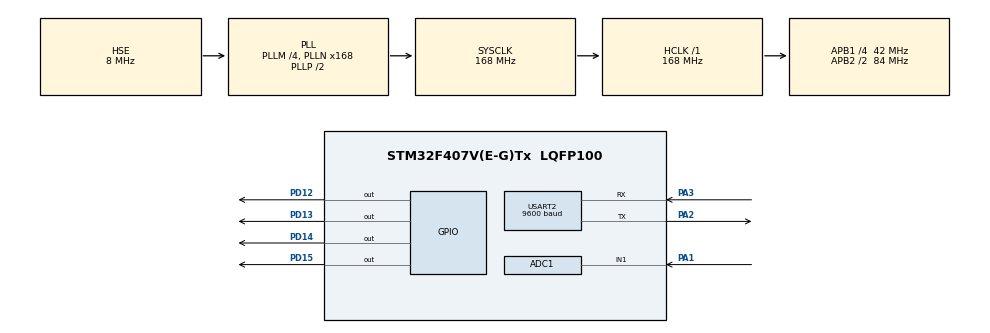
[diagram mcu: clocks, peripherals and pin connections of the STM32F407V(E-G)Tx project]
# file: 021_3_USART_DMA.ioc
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ADC1.Channel-0\#ChannelRegularConversion=ADC_CHANNEL_1
ADC1.ContinuousConvMode=ENABLE
ADC1.NbrOfConversion=1
ADC1.NbrOfConversionFlag=1
ADC1.Rank-0\#ChannelRegularConversion=1
ADC1.SamplingTime-0\#ChannelRegularConversion=ADC_SAMPLETIME_28CYCLES
ADC1.ScanConvMode=DISABLE
ADC1.master=1
Dma.ADC1.2.Direction=DMA_PERIPH_TO_MEMORY
Dma.ADC1.2.FIFOMode=DMA_FIFOMODE_DISABLE
Dma.ADC1.2.Instance=DMA2_Stream0
Dma.ADC1.2.MemDataAlignment=DMA_MDATAALIGN_WORD
Dma.ADC1.2.MemInc=DMA_MINC_ENABLE
Dma.ADC1.2.Mode=DMA_NORMAL
Dma.ADC1.2.PeriphDataAlignment=DMA_PDATAALIGN_WORD
Dma.ADC1.2.PeriphInc=DMA_PINC_DISABLE
Dma.ADC1.2.Priority=DMA_PRIORITY_LOW
Dma.Request0=USART2_RX
Dma.Request1=USART2_TX
Dma.Request2=ADC1
Dma.USART2_RX.0.Direction=DMA_PERIPH_TO_MEMORY
Dma.USART2_RX.0.FIFOMode=DMA_FIFOMODE_DISABLE
Dma.USART2_RX.0.Instance=DMA1_Stream5
Dma.USART2_RX.0.MemDataAlignment=DMA_MDATAALIGN_BYTE
Dma.USART2_RX.0.MemInc=DMA_MINC_ENABLE
Dma.USART2_RX.0.Mode=DMA_NORMAL
Dma.USART2_RX.0.PeriphDataAlignment=DMA_PDATAALIGN_BYTE
Dma.USART2_RX.0.PeriphInc=DMA_PINC_DISABLE
Dma.USART2_RX.0.Priority=DMA_PRIORITY_LOW
Dma.USART2_TX.1.Direction=DMA_MEMORY_TO_PERIPH
Dma.USART2_TX.1.FIFOMode=DMA_FIFOMODE_DISABLE
Dma.USART2_TX.1.Instance=DMA1_Stream6
Dma.USART2_TX.1.MemDataAlignment=DMA_MDATAALIGN_BYTE
Dma.USART2_TX.1.MemInc=DMA_MINC_ENABLE
Dma.USART2_TX.1.Mode=DMA_NORMAL
Dma.USART2_TX.1.PeriphDataAlignment=DMA_PDATAALIGN_BYTE
Dma.USART2_TX.1.PeriphInc=DMA_PINC_DISABLE
Dma.USART2_TX.1.Priority=DMA_PRIORITY_LOW
Mcu.Family=STM32F4
Mcu.Name=STM32F407V(E-G)Tx
Mcu.Package=LQFP100
NVIC.ADC_IRQn=true\:0\:0\:false\:false\:true\:true\:true
NVIC.DMA1_Stream5_IRQn=true\:1\:0\:true\:false\:true\:false\:true
NVIC.DMA1_Stream6_IRQn=true\:2\:0\:true\:false\:true\:false\:true
NVIC.DMA2_Stream0_IRQn=true\:0\:0\:true\:false\:true\:false\:true
NVIC.PriorityGroup=NVIC_PRIORITYGROUP_4
NVIC.USART2_IRQn=true\:3\:0\:true\:false\:true\:true\:true
PA1.Signal=ADCx_IN1
PA2.Mode=Asynchronous
PA2.Signal=USART2_TX
PA3.Mode=Asynchronous
PA3.Signal=USART2_RX
PD12.Signal=GPIO_Output
PD13.Signal=GPIO_Output
PD14.Signal=GPIO_Output
PD15.Signal=GPIO_Output
PH0-OSC_IN.Mode=HSE-External-Oscillator
PH0-OSC_IN.Signal=RCC_OSC_IN
PH1-OSC_OUT.Mode=HSE-External-Oscillator
PH1-OSC_OUT.Signal=RCC_OSC_OUT
ProjectManager.HeapSize=0x200
ProjectManager.StackSize=0x400
ProjectManager.TargetToolchain=STM32CubeIDE
RCC.48MHZClocksFreq_Value=84000000
RCC.AHBFreq_Value=168000000
RCC.APB1CLKDivider=RCC_HCLK_DIV4
RCC.APB1Freq_Value=42000000
RCC.APB1TimFreq_Value=84000000
RCC.APB2CLKDivider=RCC_HCLK_DIV2
RCC.APB2Freq_Value=84000000
RCC.APB2TimFreq_Value=168000000
RCC.CortexFreq_Value=168000000
RCC.HCLKFreq_Value=168000000
RCC.HSE_VALUE=8000000
RCC.HSI_VALUE=16000000
RCC.LSE_VALUE=32768
RCC.PLLM=4
RCC.PLLN=168
RCC.PLLSourceVirtual=RCC_PLLSOURCE_HSE
RCC.SYSCLKFreq_VALUE=168000000
RCC.SYSCLKSource=RCC_SYSCLKSOURCE_PLLCLK
RCC.VCOOutputFreq_Value=336000000
SH.ADCx_IN1.0=ADC1_IN1,IN1
USART2.BaudRate=9600
USART2.VirtualMode=VM_ASYNC
board=custom

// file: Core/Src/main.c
/* USER CODE BEGIN Header */
/**
  ******************************************************************************
  * @file           : main.c
  * @brief          : Main program body
  ******************************************************************************
  * @attention
  *
  * <h2><center>&copy; Copyright (c) 2021 STMicroelectronics.
  * All rights reserved.</center></h2>
  *
  * This software component is licensed by ST under BSD 3-Clause license,
  * the "License"; You may not use this file except in compliance with the
  * License. You may obtain a copy of the License at:
  *                        opensource.org/licenses/BSD-3-Clause
  *
  ******************************************************************************
  */
/* USER CODE END Header */
#include "main.h"

/* USER CODE BEGIN Includes */
#include "string.h"
#include "stdio.h"

/* USER CODE END Includes */

ADC_HandleTypeDef hadc1;
DMA_HandleTypeDef hdma_adc1;

UART_HandleTypeDef huart2;
DMA_HandleTypeDef hdma_usart2_rx;
DMA_HandleTypeDef hdma_usart2_tx;

/* USER CODE BEGIN PV */
static char* UartTx = "MERHABA UART BASLADI\t\n";
char rxBuffer[4];
char buffer[25];
int ADCValue[1];
/* USER CODE END PV */

void SystemClock_Config(void);
static void MX_GPIO_Init(void);
static void MX_DMA_Init(void);
static void MX_USART2_UART_Init(void);
static void MX_ADC1_Init(void);

int main(void)
{

  /* MCU Configuration--------------------------------------------------------*/

  /* Reset of all peripherals, Initializes the Flash interface and the Systick. */
  HAL_Init();

  /* Configure the system clock */
  SystemClock_Config();

  /* Initialize all configured peripherals */
  MX_GPIO_Init();
  MX_DMA_Init();
  MX_USART2_UART_Init();
  MX_ADC1_Init();
  /* USER CODE BEGIN 2 */
    while(HAL_UART_GetState(&huart2)!= HAL_UART_STATE_READY);
    if(HAL_UART_Transmit_IT(&huart2, (uint8_t *)UartTx, 25)!=HAL_OK){
  	  Error_Handler();
    }

    while(HAL_UART_GetState(&huart2)!= HAL_UART_STATE_READY);
    if(HAL_UART_Transmit_DMA(&huart2, (uint8_t *)buffer, strlen(buffer))!=HAL_OK){
  	  Error_Handler();
    }

    if(HAL_ADC_Start_DMA(&hadc1, (uint32_t*)ADCValue, 1)!=HAL_OK){
  	  Error_Handler();
    }
  /* USER CODE END 2 */

  /* Infinite loop */
  while (1)
  {

  }
}

void SystemClock_Config(void)
{
  RCC_OscInitTypeDef RCC_OscInitStruct = {0};
  RCC_ClkInitTypeDef RCC_ClkInitStruct = {0};

  /** Configure the main internal regulator output voltage
  */
  __HAL_RCC_PWR_CLK_ENABLE();
  __HAL_PWR_VOLTAGESCALING_CONFIG(PWR_REGULATOR_VOLTAGE_SCALE1);
  /** Initializes the RCC Oscillators according to the specified parameters
  * in the RCC_OscInitTypeDef structure.
  */
  RCC_OscInitStruct.OscillatorType = RCC_OSCILLATORTYPE_HSE;
  RCC_OscInitStruct.HSEState = RCC_HSE_ON;
  RCC_OscInitStruct.PLL.PLLState = RCC_PLL_ON;
  RCC_OscInitStruct.PLL.PLLSource = RCC_PLLSOURCE_HSE;
  RCC_OscInitStruct.PLL.PLLM = 4;
  RCC_OscInitStruct.PLL.PLLN = 168;
  RCC_OscInitStruct.PLL.PLLP = RCC_PLLP_DIV2;
  RCC_OscInitStruct.PLL.PLLQ = 4;
  if (HAL_RCC_OscConfig(&RCC_OscInitStruct) != HAL_OK)
  {
    Error_Handler();
  }
  /** Initializes the CPU, AHB and APB buses clocks
  */
  RCC_ClkInitStruct.ClockType = RCC_CLOCKTYPE_HCLK|RCC_CLOCKTYPE_SYSCLK
                              |RCC_CLOCKTYPE_PCLK1|RCC_CLOCKTYPE_PCLK2;
  RCC_ClkInitStruct.SYSCLKSource = RCC_SYSCLKSOURCE_PLLCLK;
  RCC_ClkInitStruct.AHBCLKDivider = RCC_SYSCLK_DIV1;
  RCC_ClkInitStruct.APB1CLKDivider = RCC_HCLK_DIV4;
  RCC_ClkInitStruct.APB2CLKDivider = RCC_HCLK_DIV2;

  if (HAL_RCC_ClockConfig(&RCC_ClkInitStruct, FLASH_LATENCY_5) != HAL_OK)
  {
    Error_Handler();
  }
}

static void MX_ADC1_Init(void)
{

  ADC_ChannelConfTypeDef sConfig = {0};

  /** Configure the global features of the ADC (Clock, Resolution, Data Alignment and number of conversion)
  */
  hadc1.Instance = ADC1;
  hadc1.Init.ClockPrescaler = ADC_CLOCK_SYNC_PCLK_DIV4;
  hadc1.Init.Resolution = ADC_RESOLUTION_12B;
  hadc1.Init.ScanConvMode = DISABLE;
  hadc1.Init.ContinuousConvMode = ENABLE;
  hadc1.Init.DiscontinuousConvMode = DISABLE;
  hadc1.Init.ExternalTrigConvEdge = ADC_EXTERNALTRIGCONVEDGE_NONE;
  hadc1.Init.ExternalTrigConv = ADC_SOFTWARE_START;
  hadc1.Init.DataAlign = ADC_DATAALIGN_RIGHT;
  hadc1.Init.NbrOfConversion = 1;
  hadc1.Init.DMAContinuousRequests = DISABLE;
  hadc1.Init.EOCSelection = ADC_EOC_SINGLE_CONV;
  if (HAL_ADC_Init(&hadc1) != HAL_OK)
  {
    Error_Handler();
  }
  /** Configure for the selected ADC regular channel its corresponding rank in the sequencer and its sample time.
  */
  sConfig.Channel = ADC_CHANNEL_1;
  sConfig.Rank = 1;
  sConfig.SamplingTime = ADC_SAMPLETIME_28CYCLES;
  if (HAL_ADC_ConfigChannel(&hadc1, &sConfig) != HAL_OK)
  {
    Error_Handler();
  }

}

static void MX_USART2_UART_Init(void)
{

  huart2.Instance = USART2;
  huart2.Init.BaudRate = 9600;
  huart2.Init.WordLength = UART_WORDLENGTH_8B;
  huart2.Init.StopBits = UART_STOPBITS_1;
  huart2.Init.Parity = UART_PARITY_NONE;
  huart2.Init.Mode = UART_MODE_TX_RX;
  huart2.Init.HwFlowCtl = UART_HWCONTROL_NONE;
  huart2.Init.OverSampling = UART_OVERSAMPLING_16;
  if (HAL_UART_Init(&huart2) != HAL_OK)
  {
    Error_Handler();
  }

}

static void MX_DMA_Init(void)
{

  /* DMA controller clock enable */
  __HAL_RCC_DMA1_CLK_ENABLE();
  __HAL_RCC_DMA2_CLK_ENABLE();

  /* DMA interrupt init */
  /* DMA1_Stream5_IRQn interrupt configuration */
  HAL_NVIC_SetPriority(DMA1_Stream5_IRQn, 1, 0);
  HAL_NVIC_EnableIRQ(DMA1_Stream5_IRQn);
  /* DMA1_Stream6_IRQn interrupt configuration */
  HAL_NVIC_SetPriority(DMA1_Stream6_IRQn, 2, 0);
  HAL_NVIC_EnableIRQ(DMA1_Stream6_IRQn);
  /* DMA2_Stream0_IRQn interrupt configuration */
  HAL_NVIC_SetPriority(DMA2_Stream0_IRQn, 0, 0);
  HAL_NVIC_EnableIRQ(DMA2_Stream0_IRQn);

}

static void MX_GPIO_Init(void)
{
  GPIO_InitTypeDef GPIO_InitStruct = {0};

  /* GPIO Ports Clock Enable */
  __HAL_RCC_GPIOH_CLK_ENABLE();
  __HAL_RCC_GPIOA_CLK_ENABLE();
  __HAL_RCC_GPIOD_CLK_ENABLE();

  /*Configure GPIO pin Output Level */
  HAL_GPIO_WritePin(GPIOD, GPIO_PIN_12|GPIO_PIN_13|GPIO_PIN_14|GPIO_PIN_15, GPIO_PIN_RESET);

  /*Configure GPIO pins : PD12 PD13 PD14 PD15 */
  GPIO_InitStruct.Pin = GPIO_PIN_12|GPIO_PIN_13|GPIO_PIN_14|GPIO_PIN_15;
  GPIO_InitStruct.Mode = GPIO_MODE_OUTPUT_PP;
  GPIO_InitStruct.Pull = GPIO_NOPULL;
  GPIO_InitStruct.Speed = GPIO_SPEED_FREQ_LOW;
  HAL_GPIO_Init(GPIOD, &GPIO_InitStruct);

}

/* USER CODE BEGIN 4 */

void HAL_UART_RxCpltCallback(UART_HandleTypeDef *huart)
{
	  if(HAL_UART_Receive_IT(&huart2, (uint8_t *)rxBuffer, 4)!=HAL_OK){
		  Error_Handler();
	  }
	  if(strncmp (rxBuffer, "LED1", 4)==0){
		  if(HAL_UART_Transmit_IT(&huart2, (uint8_t *)"LED1 YANDI\t\n", 12)!=HAL_OK){
			  Error_Handler();
		  }
		  HAL_GPIO_WritePin(GPIOD, GPIO_PIN_12, GPIO_PIN_SET);
		  HAL_GPIO_WritePin(GPIOD, GPIO_PIN_13, GPIO_PIN_SET);
		  HAL_GPIO_WritePin(GPIOD, GPIO_PIN_14, GPIO_PIN_RESET);
		  HAL_GPIO_WritePin(GPIOD, GPIO_PIN_15, GPIO_PIN_RESET);
	  }
	  else if(strncmp (rxBuffer, "LED2", 4)==0){
		  if(HAL_UART_Transmit_IT(&huart2, (uint8_t *)"LED2 YANDI\t\n", 12)!=HAL_OK){
			  Error_Handler();
		  }
		  HAL_GPIO_WritePin(GPIOD, GPIO_PIN_12, GPIO_PIN_RESET);
		  HAL_GPIO_WritePin(GPIOD, GPIO_PIN_13, GPIO_PIN_RESET);
		  HAL_GPIO_WritePin(GPIOD, GPIO_PIN_14, GPIO_PIN_SET);
		  HAL_GPIO_WritePin(GPIOD, GPIO_PIN_15, GPIO_PIN_SET);
	  }

}

void HAL_UART_TxCpltCallback(UART_HandleTypeDef *huart)
{
	 sprintf(buffer,"A1:%4d \r\n", ADCValue[0]);
}
/* USER CODE END 4 */

void Error_Handler(void)
{
  __disable_irq();
  while (1)
  {
  }
}

/************************ (C) COPYRIGHT STMicroelectronics *****END OF FILE****/
